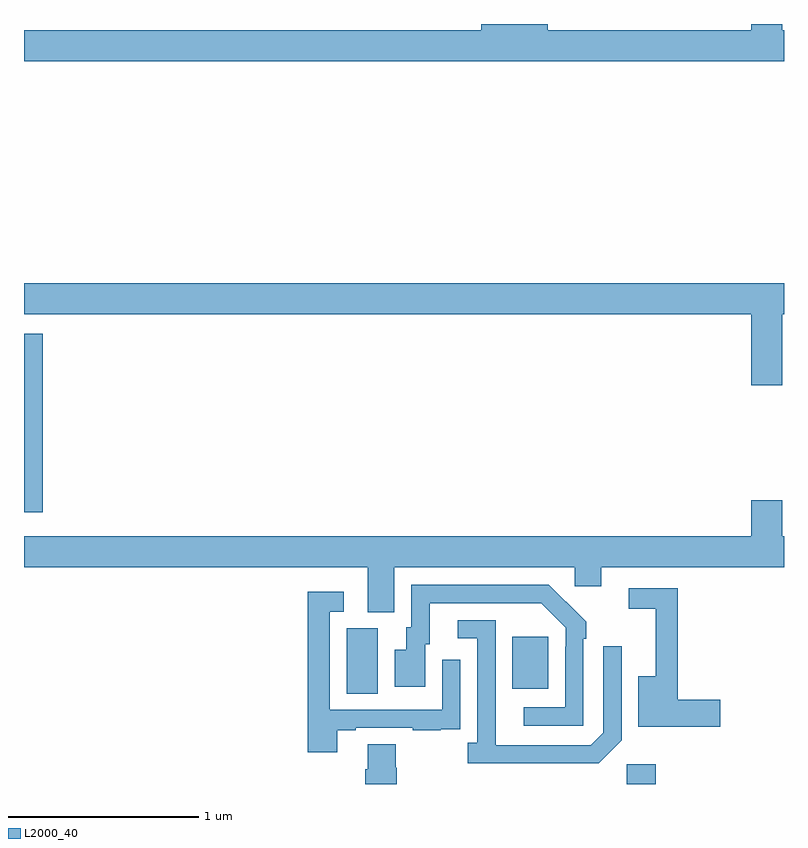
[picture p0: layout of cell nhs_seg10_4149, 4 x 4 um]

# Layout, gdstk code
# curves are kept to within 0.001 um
import gdstk
lib = gdstk.Library(unit=1e-6, precision=1e-09)
def R(c, l, rs):  # rectangles x0, y0, x1, y1
    for r in rs: c.add(gdstk.rectangle(r[:2], r[2:], *l))
def P(c, l, *ps):  # polygons
    for p in ps: c.add(gdstk.Polygon(p, *l))
L2000_40 = (2000, 40)

nhs_seg10_4149 = lib.new_cell('nhs_seg10_4149')
R(nhs_seg10_4149, L2000_40, [(344.172,1308.5,344.324,1308.604), (342.698,1308.976,342.862,1309.32), (343.571,1309.001,343.759,1309.276), (341,1309.929,341.099,1310.869)])
P(nhs_seg10_4149, L2000_40, [(345,1312.468),(344.992,1312.468),(344.992,1312.5),(344.828,1312.5),(344.828,1312.468),(343.756,1312.468),(343.756,1312.5),(343.406,1312.5),(343.406,1312.468),(341,1312.468),(341,1312.304),(345,1312.304)],
  [(344.992,1310.972),(345,1310.972),(345,1311.136),(341,1311.136),(341,1310.972),(344.828,1310.972),(344.828,1310.598),(344.992,1310.598)],
  [(342.949,1309.64),(343.899,1309.64),(343.899,1309.542),(344.038,1309.542),(344.038,1309.64),(345,1309.64),(345,1309.804),(344.992,1309.804),(344.992,1309.993),(344.828,1309.993),(344.828,1309.804),(341,1309.804),(341,1309.64),(342.809,1309.64),(342.809,1309.405),(342.949,1309.405)],
  [(343.944,1309.265),(343.959,1309.265),(343.959,1309.353),(343.762,1309.548),(343.038,1309.548),(343.038,1309.326),(343.013,1309.326),(343.013,1309.207),(342.95,1309.207),(342.95,1309.011),(343.111,1309.011),(343.111,1309.236),(343.135,1309.236),(343.135,1309.452),(343.723,1309.452),(343.851,1309.323),(343.851,1309.223),(343.848,1309.223),(343.848,1308.903),(343.629,1308.903),(343.629,1308.807),(343.944,1308.807)],
  [(344.665,1308.944),(344.441,1308.944),(344.441,1309.53),(344.184,1309.53),(344.184,1309.422),(344.324,1309.422),(344.324,1309.066),(344.234,1309.066),(344.234,1308.802),(344.665,1308.802)],
  [(342.649,1308.783),(342.745,1308.783),(342.745,1308.795),(343.045,1308.795),(343.045,1308.783),(343.193,1308.783),(343.193,1308.789),(343.295,1308.789),(343.295,1308.898),(343.296,1308.898),(343.296,1309.153),(343.2,1309.153),(343.2,1308.891),(342.609,1308.891),(342.609,1309.407),(342.682,1309.407),(342.682,1309.513),(342.493,1309.513),(342.493,1308.666),(342.649,1308.666)],
  [(344.145,1308.729),(344.145,1309.225),(344.049,1309.225),(344.049,1308.771),(343.983,1308.705),(343.483,1308.705),(343.482,1309.362),(343.284,1309.362),(343.284,1309.266),(343.386,1309.266),(343.386,1308.718),(343.335,1308.718),(343.335,1308.608),(344.024,1308.608)],
  [(342.962,1308.585),(342.957,1308.585),(342.957,1308.71),(342.809,1308.71),(342.809,1308.578),(342.797,1308.578),(342.797,1308.5),(342.962,1308.5)])

lib.write_gds('nhs_seg10_4149.gds')
